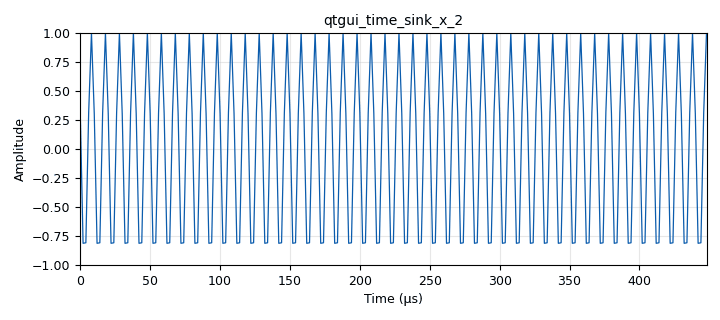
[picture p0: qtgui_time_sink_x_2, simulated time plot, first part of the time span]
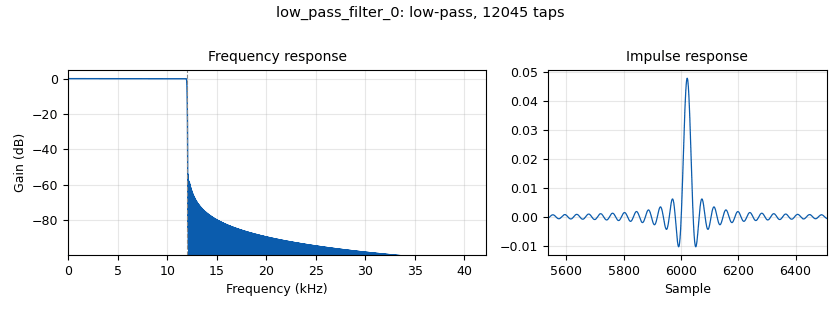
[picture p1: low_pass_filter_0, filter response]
options:
  parameters:
    author: abhineetagarwal
    generate_options: qt_gui
    id: dsbsc
    output_language: python
    title: Not titled yet
  states: {}

blocks:
- name: samp_rate
  id: variable
  parameters:
    value: '500000'
  states: {}
- name: analog_sig_source_x_1
  id: analog_sig_source_x
  parameters:
    amp: '1'
    freq: '100000'
    offset: '0'
    phase: '0'
    samp_rate: samp_rate
    type: float
    waveform: analog.GR_COS_WAVE
  states: {}
- name: audio_sink_0
  id: audio_sink
  parameters:
    samp_rate: samp_rate
  states: {}
- name: blocks_multiply_const_vxx_0
  id: blocks_multiply_const_vxx
  parameters:
    const: '3'
    type: float
  states: {}
- name: blocks_multiply_xx_0
  id: blocks_multiply_xx
  parameters:
    type: float
  states: {}
- name: blocks_multiply_xx_1
  id: blocks_multiply_xx
  parameters:
    type: float
  states: {}
- name: blocks_wavfile_source_0
  id: blocks_wavfile_source
  parameters:
    file: /home/abhineetagarwal/Downloads/vocal.wav
    repeat: 'True'
  states: {}
- name: low_pass_filter_0
  id: low_pass_filter
  parameters:
    cutoff_freq: '12000'
    decim: '1'
    gain: '1'
    samp_rate: samp_rate
    type: fir_filter_fff
    width: '100'
    win: window.WIN_HAMMING
  states: {}
- name: qtgui_freq_sink_x_0
  id: qtgui_freq_sink_x
  parameters:
    bw: samp_rate
    fc: '0'
    fftsize: '1024'
    type: float
  states: {}
- name: qtgui_freq_sink_x_1
  id: qtgui_freq_sink_x
  parameters:
    bw: samp_rate
    fc: '0'
    fftsize: '1024'
    type: float
  states: {}
- name: qtgui_freq_sink_x_2
  id: qtgui_freq_sink_x
  parameters:
    bw: samp_rate
    fc: '0'
    fftsize: '1024'
    type: float
  states: {}
- name: qtgui_time_sink_x_0
  id: qtgui_time_sink_x
  parameters:
    size: '1024'
    srate: samp_rate
    type: float
  states: {}
- name: qtgui_time_sink_x_1
  id: qtgui_time_sink_x
  parameters:
    size: '1024'
    srate: samp_rate
    type: float
  states: {}
- name: qtgui_time_sink_x_2
  id: qtgui_time_sink_x
  parameters:
    size: '1024'
    srate: samp_rate
    type: float
  states: {}
- name: rational_resampler_xxx_0
  id: rational_resampler_xxx
  parameters:
    decim: '32'
    interp: '500'
    type: fff
  states: {}

connections:
- [analog_sig_source_x_1, '0', blocks_multiply_xx_0, '1']
- [analog_sig_source_x_1, '0', blocks_multiply_xx_1, '1']
- [analog_sig_source_x_1, '0', qtgui_time_sink_x_2, '0']
- [blocks_multiply_const_vxx_0, '0', audio_sink_0, '0']
- [blocks_multiply_xx_0, '0', blocks_multiply_xx_1, '0']
- [blocks_multiply_xx_1, '0', low_pass_filter_0, '0']
- [blocks_multiply_xx_1, '0', qtgui_freq_sink_x_2, '0']
- [blocks_wavfile_source_0, '0', rational_resampler_xxx_0, '0']
- [low_pass_filter_0, '0', blocks_multiply_const_vxx_0, '0']
- [low_pass_filter_0, '0', qtgui_freq_sink_x_1, '0']
- [low_pass_filter_0, '0', qtgui_time_sink_x_0, '0']
- [rational_resampler_xxx_0, '0', blocks_multiply_xx_0, '0']
- [rational_resampler_xxx_0, '0', qtgui_freq_sink_x_0, '0']
- [rational_resampler_xxx_0, '0', qtgui_time_sink_x_1, '0']

metadata:
  file_format: 1
  grc_version: 3.10.9.2
